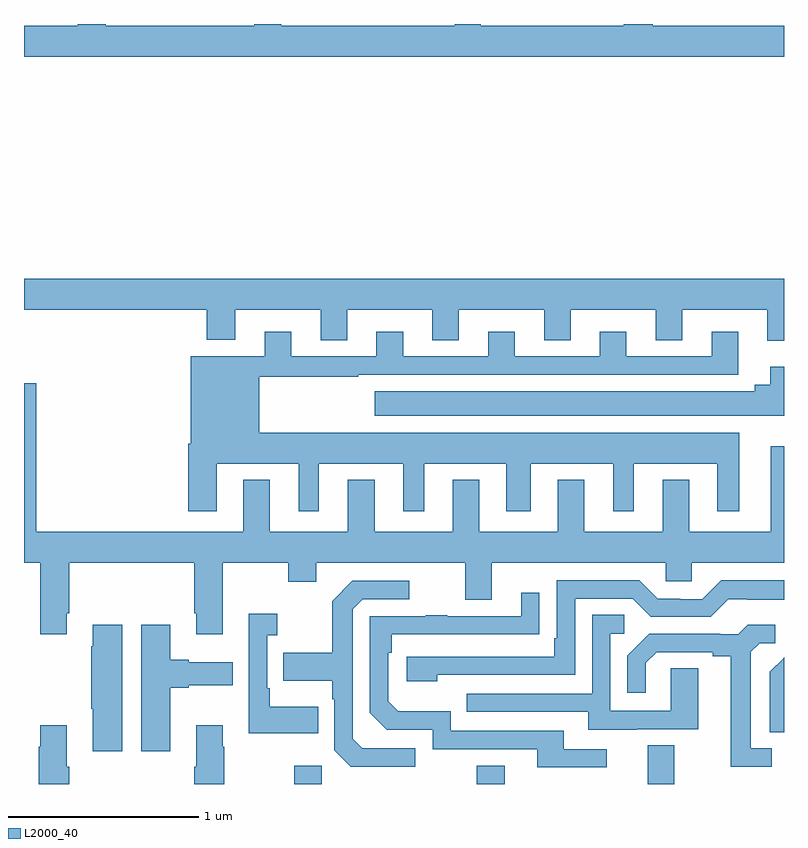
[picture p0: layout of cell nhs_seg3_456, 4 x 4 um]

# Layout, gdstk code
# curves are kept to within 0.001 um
import gdstk
lib = gdstk.Library(unit=1e-6, precision=1e-09)
def R(c, l, rs):  # rectangles x0, y0, x1, y1
    for r in rs: c.add(gdstk.rectangle(r[:2], r[2:], *l))
def P(c, l, *ps):  # polygons
    for p in ps: c.add(gdstk.Polygon(p, *l))
L2000_40 = (2000, 40)

nhs_seg3_456 = lib.new_cell('nhs_seg3_456')
R(nhs_seg3_456, L2000_40, [(134.422,718.4,134.568,718.495), (135.382,718.4,135.529,718.495), (136.283,718.4,136.423,718.604)])
P(nhs_seg3_456, L2000_40, [(137,722.392),(136.31,722.392),(136.31,722.4),(136.157,722.4),(136.157,722.392),(135.405,722.392),(135.405,722.4),(135.267,722.4),(135.267,722.392),(134.353,722.392),(134.353,722.4),(134.213,722.4),(134.213,722.392),(133.429,722.392),(133.429,722.4),(133.282,722.4),(133.282,722.392),(133,722.392),(133,722.228),(137,722.228)],
  [(137,721.06),(133,721.06),(133,720.896),(133.961,720.896),(133.961,720.737),(134.113,720.737),(134.113,720.896),(134.561,720.896),(134.561,720.736),(134.701,720.736),(134.701,720.896),(135.149,720.896),(135.149,720.736),(135.289,720.736),(135.289,720.896),(135.737,720.896),(135.737,720.736),(135.877,720.736),(135.877,720.896),(136.325,720.896),(136.325,720.736),(136.465,720.736),(136.465,720.896),(136.913,720.896),(136.913,720.732),(137,720.732)],
  [(134.014,720.086),(134.447,720.086),(134.447,719.835),(134.551,719.835),(134.551,720.086),(134.996,720.086),(134.996,719.835),(135.106,719.835),(135.106,720.086),(135.539,720.086),(135.539,719.835),(135.667,719.835),(135.667,720.086),(136.1,720.086),(136.1,719.835),(136.21,719.835),(136.21,720.086),(136.649,720.086),(136.649,719.835),(136.765,719.835),(136.765,720.25),(134.239,720.25),(134.239,720.543),(134.759,720.543),(134.759,720.555),(136.759,720.555),(136.759,720.781),(136.619,720.781),(136.619,720.651),(136.171,720.651),(136.171,720.781),(136.031,720.781),(136.031,720.651),(135.583,720.651),(135.583,720.781),(135.443,720.781),(135.443,720.651),(134.995,720.651),(134.995,720.781),(134.855,720.781),(134.855,720.651),(134.407,720.651),(134.407,720.781),(134.267,720.781),(134.267,720.652),(133.877,720.652),(133.877,720.19),(133.865,720.19),(133.865,719.835),(134.014,719.835)],
  [(137,720.595),(136.928,720.595),(136.928,720.502),(136.847,720.502),(136.847,720.466),(134.847,720.466),(134.847,720.338),(137,720.338)],
  [(133.225,719.299),(133.238,719.299),(133.238,719.564),(133.895,719.564),(133.895,719.299),(133.907,719.299),(133.907,719.187),(134.047,719.187),(134.047,719.564),(134.392,719.564),(134.392,719.465),(134.539,719.465),(134.539,719.564),(135.323,719.564),(135.323,719.37),(135.463,719.37),(135.463,719.564),(136.377,719.564),(136.377,719.466),(136.515,719.466),(136.515,719.564),(137,719.564),(137,720.178),(136.931,720.178),(136.931,719.728),(136.501,719.728),(136.501,720.001),(136.361,720.001),(136.361,719.728),(135.949,719.728),(135.949,720.001),(135.809,720.001),(135.809,719.728),(135.397,719.728),(135.397,720.001),(135.257,720.001),(135.257,719.728),(134.845,719.728),(134.845,720.001),(134.705,720.001),(134.705,719.728),(134.293,719.728),(134.293,720.001),(134.153,720.001),(134.153,719.728),(133.064,719.728),(133.064,720.508),(133,720.508),(133,719.564),(133.085,719.564),(133.085,719.187),(133.225,719.187)],
  [(135.176,718.974),(135.9,718.974),(135.9,719.376),(136.203,719.376),(136.299,719.28),(136.614,719.28),(136.707,719.373),(136.807,719.373),(136.807,719.369),(137,719.369),(137,719.473),(136.669,719.473),(136.569,719.373),(136.454,719.373),(136.454,719.376),(136.335,719.376),(136.239,719.472),(135.804,719.472),(135.804,719.167),(135.791,719.167),(135.791,719.07),(135.015,719.07),(135.015,718.94),(135.176,718.94)],
  [(135.058,718.587),(134.781,718.587),(134.73,718.638),(134.73,719.319),(134.784,719.373),(135.028,719.373),(135.028,719.469),(134.727,719.469),(134.622,719.363),(134.622,719.091),(134.365,719.091),(134.365,718.943),(134.622,718.943),(134.622,718.847),(134.634,718.847),(134.634,718.578),(134.721,718.491),(135.058,718.491)],
  [(136.066,718.584),(135.841,718.584),(135.841,718.68),(135.246,718.68),(135.246,718.783),(134.969,718.783),(134.916,718.836),(134.916,719.09),(134.936,719.09),(134.936,719.187),(135.713,719.188),(135.713,719.407),(135.617,719.407),(135.617,719.283),(135.227,719.283),(135.227,719.288),(135.115,719.288),(135.115,719.283),(134.82,719.283),(134.82,718.776),(134.91,718.686),(135.15,718.686),(135.15,718.584),(135.701,718.584),(135.701,718.488),(136.066,718.488)],
  [(134.549,718.807),(134.293,718.807),(134.293,718.903),(134.28,718.903),(134.28,719.183),(134.332,719.183),(134.332,719.296),(134.184,719.296),(134.184,718.667),(134.549,718.667)],
  [(136.225,718.689),(136.549,718.689),(136.549,719.009),(136.404,719.009),(136.404,718.785),(136.086,718.785),(136.086,719.19),(136.159,719.19),(136.159,719.291),(135.99,719.291),(135.99,718.875),(135.331,718.875),(135.331,718.779),(135.971,718.779),(135.971,718.685),(136.225,718.685)],
  [(133.771,718.907),(133.867,718.907),(133.867,718.919),(134.098,718.919),(134.098,719.041),(133.867,719.041),(133.867,719.054),(133.771,719.054),(133.771,719.239),(133.616,719.239),(133.616,718.572),(133.771,718.572)],
  [(136.936,718.587),(136.825,718.587),(136.825,719.095),(136.872,719.142),(136.954,719.142),(136.954,719.239),(136.81,719.239),(136.758,719.187),(136.664,719.187),(136.664,719.19),(136.292,719.19),(136.176,719.074),(136.176,718.881),(136.273,718.881),(136.273,719.037),(136.33,719.094),(136.625,719.094),(136.625,719.072),(136.721,719.072),(136.721,718.491),(136.936,718.491)],
  [(133.516,719.239),(133.361,719.239),(133.361,719.126),(133.354,719.126),(133.354,718.795),(133.361,718.795),(133.361,718.572),(133.516,718.572)],
  [(137,719.066),(136.998,719.064),(136.999,719.063),(136.926,718.99),(136.926,718.672),(137,718.672)],
  [(133.238,718.492),(133.225,718.492),(133.225,718.708),(133.085,718.708),(133.085,718.595),(133.078,718.595),(133.078,718.4),(133.238,718.4)],
  [(134.055,718.595),(134.047,718.595),(134.047,718.708),(133.907,718.708),(133.907,718.492),(133.895,718.492),(133.895,718.4),(134.055,718.4)])

lib.write_gds('nhs_seg3_456.gds')
